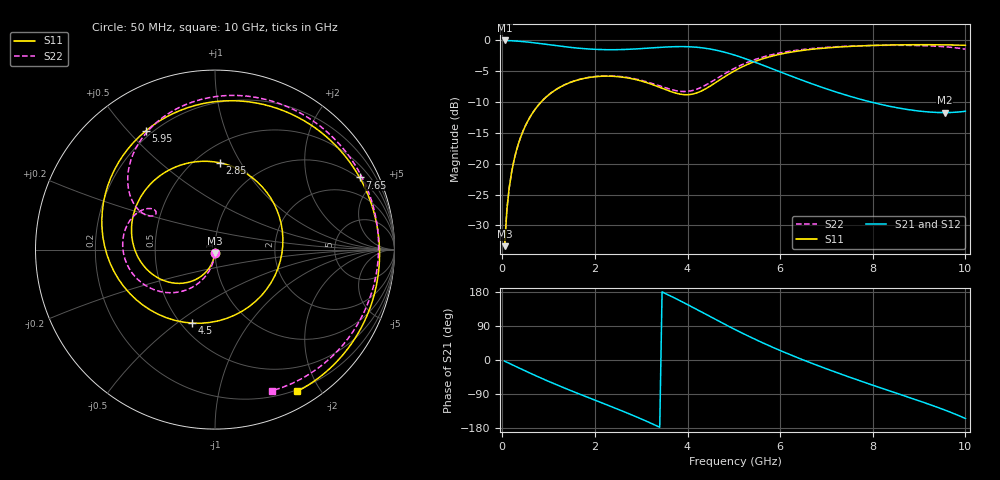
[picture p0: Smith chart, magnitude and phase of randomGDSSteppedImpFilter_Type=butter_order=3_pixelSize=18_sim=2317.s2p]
! freq	dB(S11)	phase(S11)	dB(S12)	phase(S12)
!  dB(S21)	phase(S21)	dB(S22)	phase(S22)
!S-par simulation data
#  GHz  S  DB  R 50
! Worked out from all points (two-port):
!   200 points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, 50 MHz to 10 GHz, reference 50 ohm
!   highest |S21| = 0.00 dB at 50 MHz (marker M1); lowest = -11.7 dB at 9.55 GHz (marker M2)
!   |S21| within 3 dB of the highest: start of sweep to 5.264 GHz
!   lowest |S11| = -33.4 dB at 50 MHz (marker M3), VSWR 1.04, Z = 49.8 - j2.13 ohm
!   |S11| at or under -10 dB: start of sweep to 838.2 MHz
!   |S22| runs from -33.4 to -0.8 dB; largest |S21 - S12| = 0
!   S11 on the Smith chart (normalised r, x): 50 MHz: 1.00, -0.04; 2.85 GHz: 0.65, +0.82; 4.5 GHz: 0.57, -0.57; 5.95 GHz: 0.18, +0.56; 7.65 GHz: 0.95, +4.03; 10 GHz: 0.18, -1.72
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0.05  -33.38 -93.5  -0.00 -3.0  -0.00 -3.0  -33.37 -92.7
0.1  -27.38 -96.9  -0.02 -5.9  -0.02 -5.9  -27.37 -95.3
0.2  -21.42 -103.8  -0.05 -11.8  -0.05 -11.8  -21.41 -100.6
0.5  -13.84 -123.6  -0.23 -29.0  -0.23 -29.0  -13.82 -115.6
1.1  -8.27 -161.3  -0.78 -61.6  -0.78 -61.6  -8.25 -143.0
1.75  -6.19 159.6  -1.33 -93.9  -1.33 -93.9  -6.16 -168.5
2.35  -5.81 122.3  -1.51 -122.7  -1.51 -122.7  -5.76 171.4
2.85  -6.29 87.0  -1.39 -147.6  -1.39 -147.6  -6.20 157.4
3.4  -7.61 37.8  -1.13 -177.4  -1.13 -177.4  -7.39 147.6
3.9  -8.78 -23.3  -1.00 152.6  -1.00 152.6  -8.29 148.7
4.2  -8.52 -66.2  -1.11 133.4  -1.11 133.4  -7.91 152.3
4.5  -7.36 -107.1  -1.41 113.9  -1.41 113.9  -6.78 153.2
5.05  -4.79 -167.9  -2.46 78.9  -2.46 78.9  -4.38 143.4
5.45  -3.42 157.1  -3.51 55.1  -3.51 55.1  -3.12 131.0
5.95  -2.32 120.3  -4.95 27.7  -4.95 27.7  -2.10 113.3
6.3  -1.82 97.7  -5.97 9.9  -5.97 9.9  -1.65 100.5
6.7  -1.43 74.3  -7.07 -9.4  -7.07 -9.4  -1.30 85.6
7.65  -0.91 26.5  -9.37 -51.8  -9.37 -51.8  -0.88 49.4
8.35  -0.74 -3.2  -10.66 -81.0  -10.66 -81.0  -0.79 21.1
9  -0.69 -27.5  -11.46 -107.7  -11.46 -107.7  -0.83 -7.9
9.55  -0.72 -46.0  -11.71 -131.7  -11.71 -131.7  -1.02 -36.8
10  -0.79 -59.9  -11.49 -154.4  -11.49 -154.4  -1.43 -68.0
